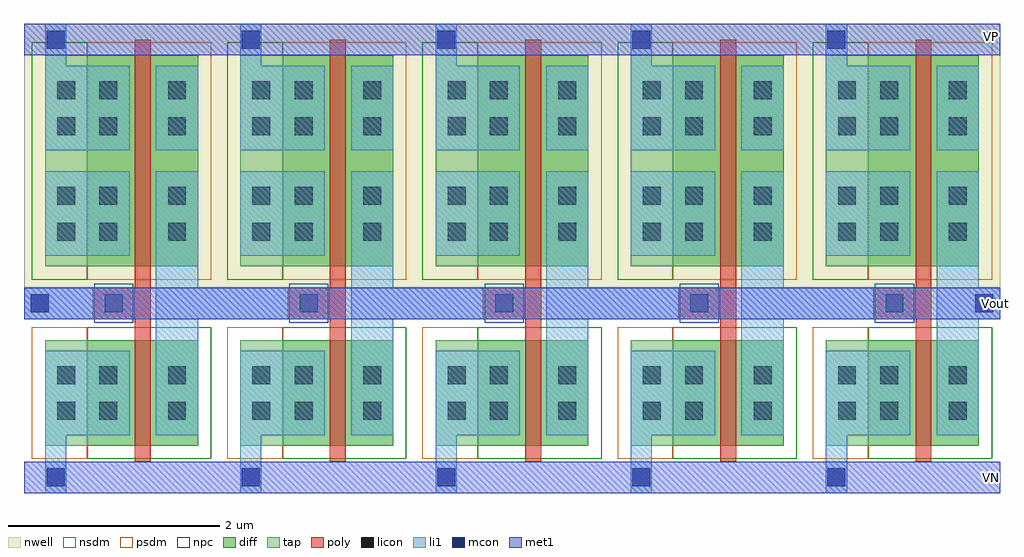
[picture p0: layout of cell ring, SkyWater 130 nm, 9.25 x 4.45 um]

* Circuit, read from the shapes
.subckt ring VN VP Vout
XM1 n1 Vout VN VN sky130_fd_pr__nfet_01v8 w=1 l=0.15
XM2 n2 n1 VN VN sky130_fd_pr__nfet_01v8 w=1 l=0.15
XM3 n3 n2 VN VN sky130_fd_pr__nfet_01v8 w=1 l=0.15
XM4 n4 n3 VN VN sky130_fd_pr__nfet_01v8 w=1 l=0.15
XM5 Vout n4 VN VN sky130_fd_pr__nfet_01v8 w=1 l=0.15
XM6 n1 Vout VP VP sky130_fd_pr__pfet_01v8 w=2 l=0.15
XM7 n2 n1 VP VP sky130_fd_pr__pfet_01v8 w=2 l=0.15
XM8 n3 n2 VP VP sky130_fd_pr__pfet_01v8 w=2 l=0.15
XM9 n4 n3 VP VP sky130_fd_pr__pfet_01v8 w=2 l=0.15
XM10 Vout n4 VP VP sky130_fd_pr__pfet_01v8 w=2 l=0.15
.ends

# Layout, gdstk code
import gdstk
lib = gdstk.Library(unit=1e-6, precision=1e-09)
def R(c, l, rs):  # rectangles x0, y0, x1, y1
    for r in rs: c.add(gdstk.rectangle(r[:2], r[2:], *l))
def P(c, l, *ps):  # polygons
    for p in ps: c.add(gdstk.Polygon(p, *l))
nwell = (64, 20)
diff = (65, 20)
tap = (65, 44)
poly = (66, 20)
licon = (66, 44)
li1 = (67, 20)
mcon = (67, 44)
met1 = (68, 20)
nsdm = (93, 44)
psdm = (94, 20)
npc = (95, 20)

inv = lib.new_cell('inv')
R(inv, nwell, [(-1.05,1.8,0.8,4.3)])
R(inv, diff, [(-0.45,0.3,0.6,1.3), (-0.45,2,0.6,4)])
R(inv, tap, [(-0.85,0.3,-0.45,1.3), (-0.85,2,-0.45,4)])
R(inv, poly, [(0,0.15,0.15,1.5), (-0.4,1.5,0.15,1.8), (0,1.8,0.15,4.15)])
R(inv, licon, [(-0.735,0.545,-0.565,0.715), (-0.335,0.545,-0.165,0.715), (0.315,0.545,0.485,0.715), (-0.735,0.885,-0.565,1.055), (-0.335,0.885,-0.165,1.055), (0.315,0.885,0.485,1.055), (-0.285,1.565,-0.115,1.735), (-0.735,2.245,-0.565,2.415), (-0.335,2.245,-0.165,2.415), (0.315,2.245,0.485,2.415), (-0.735,2.585,-0.565,2.755), (-0.335,2.585,-0.165,2.755), (0.315,2.585,0.485,2.755), (-0.735,3.245,-0.565,3.415), (-0.335,3.245,-0.165,3.415), (0.315,3.245,0.485,3.415), (-0.735,3.585,-0.565,3.755), (-0.335,3.585,-0.165,3.755), (0.315,3.585,0.485,3.755)])
R(inv, li1, [(-1.05,1.5,0,1.8), (-0.85,2.1,-0.05,2.9), (0.2,3.1,0.6,3.9)])
P(inv, li1, [(-0.85,3.1),(-0.85,4.3),(-0.65,4.3),(-0.65,3.9),(-0.05,3.9),(-0.05,3.1)],
  [(0.2,0.4),(0.2,2.9),(0.6,2.9),(0.6,1.8),(0.8,1.8),(0.8,1.5),(0.6,1.5),(0.6,0.4)],
  [(-0.85,-0.15),(-0.85,1.2),(-0.05,1.2),(-0.05,0.4),(-0.65,0.4),(-0.65,-0.15)])
R(inv, mcon, [(-0.835,-0.085,-0.665,0.085), (-0.835,4.065,-0.665,4.235)])
R(inv, met1, [(-1.05,-0.15,0.8,0.15), (-1.05,4,0.8,4.3)])
R(inv, nsdm, [(-0.45,0.175,0.725,1.425), (-0.975,1.875,-0.45,4.125)])
R(inv, psdm, [(-0.975,0.175,-0.45,1.425), (-0.45,1.875,0.725,4.125)])
R(inv, npc, [(-0.385,1.465,-0.015,1.835)])

ring = lib.new_cell('ring')
R(ring, mcon, [(-1.55,1.73,-1.38,1.9), (7.4,1.73,7.57,1.9)])
R(ring, met1, [(-1.615,1.665,7.635,1.965)])
r = gdstk.Reference(inv, (-0.565,0.165)); r.repetition = gdstk.Repetition(5, 1, v1=(1.85,0), v2=(0,0)); ring.add(r)
ring.add(gdstk.Label('VP', (7.55,4.34), layer=68, texttype=5))
ring.add(gdstk.Label('Vout', (7.59,1.815), layer=68, texttype=5))
ring.add(gdstk.Label('VN', (7.55,0.16), layer=68, texttype=5))

lib.write_gds('ring.gds')
